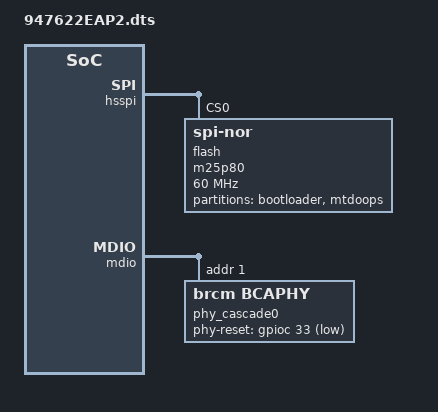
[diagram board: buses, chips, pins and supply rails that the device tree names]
#include "47622.dtsi"

#define HS_SPIM_SPI			36

/ {
    memory_controller {
        memcfg = <(BP_DDR_TYPE_DDR4           | \
                   BP_DDR_SPEED_1067_15_15_15 | \
                   BP_DDR_TOTAL_SIZE_2048MB   | \
                   BP_DDR_DEVICE_WIDTH_8      | \
                   BP_DDR_TOTAL_WIDTH_16BIT   | \
                   BP_DDR_SSC_CONFIG_1)>;
    };

	buttons {
		compatible = "brcm,buttons";
		ses_button {
			ext_irq = <&bca_extintr 4 BCA_GPIO_ACTIVE_LOW (BCA_EXTINTR_TYPE_LOW_LEVEL | BCA_EXTINTR_TYPE_SENSE_EDGE)>;
			release {
				ses_short_period = <0>;
				ses_long_period = <3>;
			};
		};
	};
};

&hsspi {
	spi-max-frequency = <67000000>;
	interrupts = <GIC_SPI HS_SPIM_SPI IRQ_TYPE_LEVEL_HIGH>;
	status = "okay";
	flash: m25p80@0 {
		status = "okay";
		compatible = "jedec,spi-nor";
		reg = <0>; /* chip select 0 */
		spi-max-frequency = <60000000>;
		#address-cells = <1>;
		#size-cells = <1>;
		partition@0 {
			label = "bootloader";
			reg = <0x0 0x0100000>;
		};
		partition@1 {
			label = "mtdoops";
			reg = <0x0100000 0x0020000>;
		};
	 };
};

&mdio {
	phy8:8 {
		status = "okay";
	};

	phy_cascade0:9 {
		compatible = "brcm,bcaphy";
		phy-type = "EXT3";
		reg = <1>;
		enet-phy-lane-swap;
		phy-reset = <&gpioc 33 GPIO_ACTIVE_LOW>;
		phy-external;
		status = "okay";
	};

	phy_serdes0:6 {
		phy-handle = <&phy_cascade0>;
		status = "okay";
	};
};

&switch0 {
	pinctrl-names = "default"; 
	pinctrl-0 = <&a_rgmii_mdc_pin_68 &a_rgmii_mdio_pin_69>; 
	ports {
		/* fixed port configuration */
		sysp_port0@0 {
			phy-handle = <&phy8>;
			status = "okay";
		};
		sysp_port1@1 {
			phy-handle = <&phy_serdes0>;
			status = "okay";
		};
	};
};
